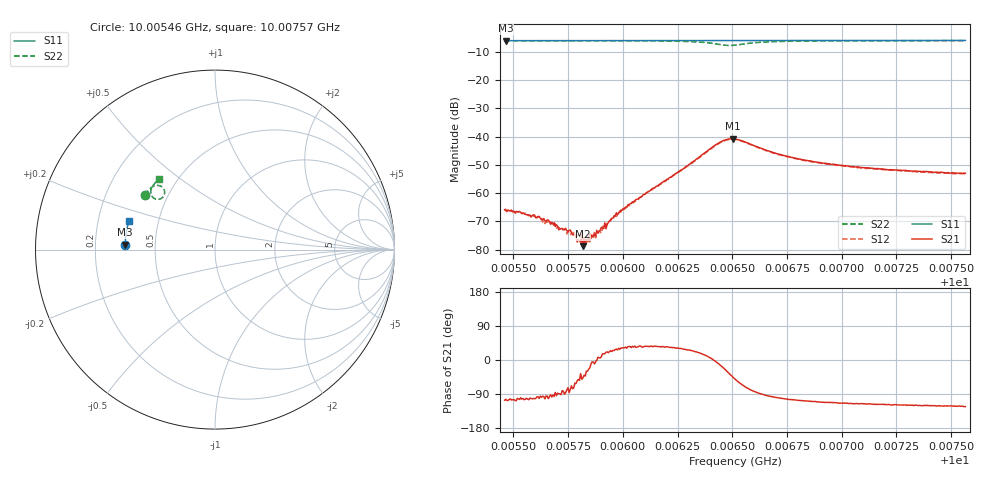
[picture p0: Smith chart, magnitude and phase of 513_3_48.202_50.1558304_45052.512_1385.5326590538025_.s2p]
#  HZ  S  RI  R  50.00
! Rohde & Schwarz Vector Network Analyzer
! Rohde-Schwarz,ZNB20-2Port,1311601062101988,3.16
! Created: UTC 3/20/2024, 11:59:04 AM
! freq[Hz]  re:S11  im:S11  re:S21  im:S21  re:S12  im:S12  re:S22  im:S22
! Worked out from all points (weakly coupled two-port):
!   401 points, 10.00546 GHz to 10.00757 GHz, reference 50 ohm
!   highest |S21| = -40.72 dB at 10.0065 GHz (marker M1); lowest = -78.7 dB at 10.00582 GHz (marker M2)
!   lowest |S11| = -6.0 dB at 10.00546 GHz (marker M3), VSWR 3.01, Z = 16.6 + j1.19 ohm
!   |S11| at or under -10 dB: nowhere
!   |S22| runs from -7.7 to -6.0 dB; largest |S21 - S12| = 0.00057
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1.0005459e10  -0.5005 0.0264  -0.000142 -0.000491  -7.72e-05 -0.000492  -0.3923 0.3041
1.0005465e10  -0.5004 0.0268  -0.000116 -0.000479  -0.000106 -0.000511  -0.3922 0.3044
1.0005549e10  -0.5003 0.0323  -0.000111 -0.000418  -7.96e-05 -0.000432  -0.3884 0.3093
1.0005628e10  -0.5001 0.0376  -5.11e-05 -0.000349  -3.75e-05 -0.000342  -0.3849 0.3139
1.000567e10  -0.4999 0.0402  -8.16e-06 -0.000285  -2.08e-05 -0.000281  -0.3829 0.3166
1.0005717e10  -0.4998 0.0433  -5.8e-06 -0.000237  -5.42e-06 -0.000239  -0.3806 0.3195
1.0005749e10  -0.4997 0.0452  6.11e-05 -0.000201  6.59e-05 -0.0002  -0.379 0.3214
1.0005796e10  -0.4994 0.0485  9.44e-05 -0.000117  9.81e-05 -0.00016  -0.3766 0.3243
1.0005812e10  -0.4993 0.0495  0.000121 -0.000147  0.000105 -0.000108  -0.3757 0.3254
1.0005818e10  -0.4994 0.0499  7.85e-05 -8.49e-05  0.000112 -7.85e-05  -0.3754 0.3257
1.0005839e10  -0.4993 0.0512  0.000126 -7.1e-05  0.000128 -0.000105  -0.3743 0.327
1.000586e10  -0.4992 0.0526  0.00017 -1.35e-05  0.000175 -6.09e-05  -0.3731 0.3283
1.0005886e10  -0.4988 0.0543  0.000195 2.5e-05  0.000198 1.54e-05  -0.3717 0.33
1.0005997e10  -0.4984 0.0614  0.000426 0.000261  0.000457 0.000286  -0.3646 0.3373
1.0006165e10  -0.4974 0.0724  0.00116 0.000812  0.00109 0.000824  -0.3493 0.3492
1.0006434e10  -0.4941 0.0896  0.00751 -0.00105  0.00735 -0.000629  -0.2823 0.3305
1.0006502e10  -0.4936 0.0934  0.00651 -0.0065  0.00673 -0.00599  -0.3004 0.2844
1.0006513e10  -0.4934 0.0939  0.00579 -0.00702  0.00607 -0.00655  -0.308 0.2813
1.0006702e10  -0.4923 0.1061  -0.000777 -0.00497  -0.000558 -0.00494  -0.3581 0.3243
1.0006865e10  -0.4902 0.1166  -0.0012 -0.00345  -0.00102 -0.00342  -0.3511 0.347
1.0007218e10  -0.4852 0.1388  -0.00119 -0.00231  -0.00106 -0.00231  -0.3321 0.3735
1.0007566e10  -0.4793 0.1605  -0.00123 -0.00189  -0.00106 -0.00191  -0.3139 0.3917
